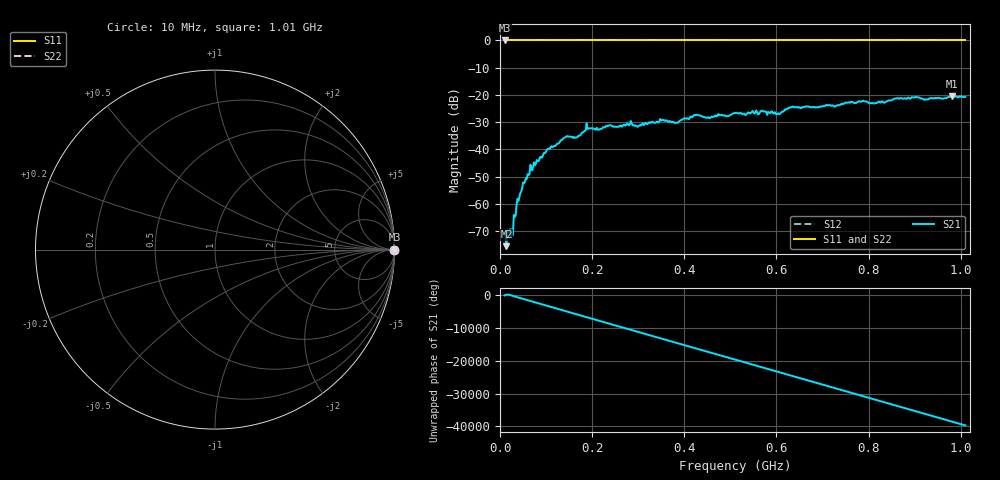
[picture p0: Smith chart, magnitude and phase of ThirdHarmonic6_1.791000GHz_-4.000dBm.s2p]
! 8/16/2025 9:39:44 PM
! C:\ANRITSUVNA\TEMP\TEMP.S2P
! CHANNEL.1
! TR.MEASUREMENT
! RAW.DATA
! RF.CORRECTION.OFF
! AVERAGING.OFF
! IF.BANDWIDTH: 5KHZ
! SWEEPTYPE:  FREQ.SWEEP(Linear)
! Reference Plane Port Info
! PORT:  PORT1  PORT2
! DISTANCE:  0  m  0  m
! TIME:  0  s  0  s
! PHASE.OFFSET:  0  deg.  0  deg.
! LOSS:  0  dB  0  dB
! REF.LOSS:  0  dB  0  dB
! REF.FREQ:  0  Hz  0  Hz
! Power Info
! POWER:  -20  dBm  -20  dBm
! EFF.POWER:  -20  dBm  -20  dBm
! SOURCE.ATTEN:  0  dB  0  dB
! TEST.ATTEN:  0  dB  0  dB
# GHZ S RI R 50.0
! FREQ.GHZ  S11RE  S11IM  S21RE  S21IM  S12RE  S12IM  S22RE  S22IM
!; PortSelection: Port_12
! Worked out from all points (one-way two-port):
!   501 points, 10 MHz to 1.01 GHz, reference 50 ohm
!   highest |S21| = -20.44 dB at 980 MHz (marker M1); lowest = -75.5 dB at 14 MHz (marker M2)
!   lowest |S11| = 0.0 dB at 10 MHz (marker M3)
!   |S11| at or under -10 dB: nowhere
!   |S22| runs from 0.0 to 0.0 dB; largest |S21 - S12| = 1.1
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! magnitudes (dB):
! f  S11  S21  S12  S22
! 10 MHz  0.0  -70.4  0.0  0.0
! 14 MHz  0.0  -75.5  0.0  0.0
! 24 MHz  0.0  -72.2  0.0  0.0
! 40 MHz  0.0  -58.9  0.0  0.0
! 52 MHz  0.0  -52.3  0.0  0.0
! 70 MHz  0.0  -47.7  0.0  0.0
! 106 MHz  0.0  -39.7  0.0  0.0
! 142 MHz  0.0  -35.5  0.0  0.0
! 178 MHz  0.0  -33.8  0.0  0.0
! 192 MHz  0.0  -32.3  0.0  0.0
! 300 MHz  0.0  -31.6  0.0  0.0
! 344 MHz  0.0  -30.1  0.0  0.0
! 382 MHz  0.0  -30.2  0.0  0.0
! 424 MHz  0.0  -27.4  0.0  0.0
! 452 MHz  0.0  -28.1  0.0  0.0
! 510 MHz  0.0  -26.6  0.0  0.0
! 604 MHz  0.0  -26.7  0.0  0.0
! 632 MHz  0.0  -24.5  0.0  0.0
! 678 MHz  0.0  -24.6  0.0  0.0
! 844 MHz  0.0  -22.0  0.0  0.0
! 980 MHz  0.0  -20.4  0.0  0.0
! 1.01 GHz  0.0  -20.7  0.0  0.0
